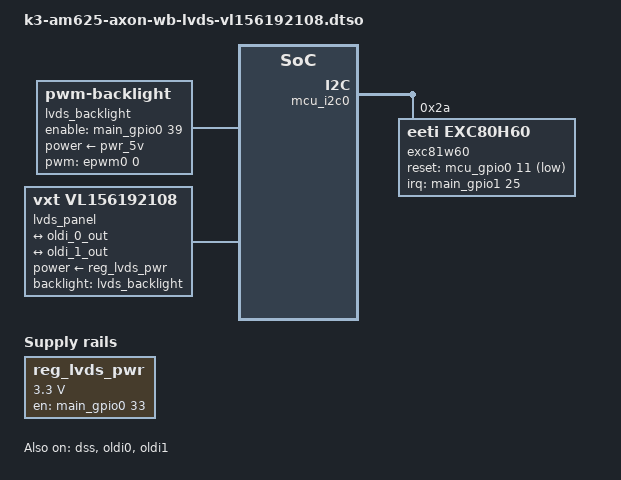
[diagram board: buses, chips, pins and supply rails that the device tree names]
// SPDX-License-Identifier: GPL-2.0-only OR MIT
/*
 * Copyright (C) 2024 TechNexion Ltd.
 *
 * Author: Ray Chang <ray.chang@technexion.com>
 *
 */

/dts-v1/;
/plugin/;

#include <dt-bindings/gpio/gpio.h>
#include <dt-bindings/interrupt-controller/irq.h>


&{/} {
	reg_lvds_pwr: regulator_lvdspwr {
		compatible = "regulator-fixed";
		pinctrl-names = "default";
		pinctrl-0 = <&lvds_pwr_pins_default>;
		regulator-name = "LVDS_VLED_EN";
		regulator-min-microvolt = <3300000>;
		regulator-max-microvolt = <3300000>;
		gpio = <&main_gpio0 33 GPIO_ACTIVE_HIGH>; /* LVDS0_VDDEN, GPIO_X4_P8 */
		enable-active-high;
	};

	lvds_backlight: lvds_backlight {
		compatible = "pwm-backlight";
		pinctrl-names = "default";
		pinctrl-0 = <&lvds_backlight_pwr_pins_default>;
		enable-gpios = <&main_gpio0 39 GPIO_ACTIVE_HIGH>; /* LVDS0_BL_EN, GPIO_X4_P7 */
		power-supply = <&pwr_5v>;
		pwms = <&epwm0 0 50000 0>;
		brightness-levels = <7 255>;
		num-interpolated-steps = <248>;
		default-brightness-level = <100>;
	};

	lvds_panel {
		compatible = "vxt,vl156192108", "panel-lvds";
		backlight = <&lvds_backlight>;
		power-supply = <&reg_lvds_pwr>;

		data-mapping = "vesa-24";
		height-mm = <193>;
		width-mm = <344>;

		panel-timing {
			clock-frequency = <141860000>;
			hactive = <1920>;
			vactive = <1080>;
			vback-porch = <10>;
			vfront-porch = <10>;
			hback-porch = <35>;
			hfront-porch = <34>;
			vsync-len = <10>;
			hsync-len = <35>;
			de-active = <1>;
		};

		/*
		* Note that the OLDI TX 0 transmits the odd set of pixels
		* while the OLDI TX 1 transmits the even set. This is a
		* fixed configuration in the IP integration and is not
		* changeable. The properties, "dual-lvds-odd-pixels" and
		* "dual-lvds-even-pixels" have been used to merely
		* identify if a Dual Link configuration is required.
		* Swapping them will cause an error in the dss oldi driver.
		*/
		ports {
			#address-cells = <1>;
			#size-cells = <0>;

			port@0 {
				reg = <0>;
				dual-lvds-odd-pixels;
				lcd_in0: endpoint {
					remote-endpoint = <&oldi_0_out>;
				};
			};
			port@1 {
				reg = <1>;
				dual-lvds-even-pixels;
				lcd_in1: endpoint {
					remote-endpoint = <&oldi_1_out>;
				};
			};
		};
	};
};

&dss {
	pinctrl-names = "default";
	pinctrl-0 = <&main_oldi0_pins_default>;
	status = "okay";
};

&oldi0 {
	status = "okay";
};

&oldi1 {
	status = "okay";
};

&oldi0_ports {
	#address-cells = <1>;
	#size-cells = <0>;

	port@0 {
		reg = <0>;
		oldi_0_in: endpoint {
			remote-endpoint = <&dpi0_out0>;
		};
	};

	port@1 {
		reg = <1>;
		oldi_0_out: endpoint {
			remote-endpoint = <&lcd_in0>;
		};
	};
};

&oldi1_ports {
	#address-cells = <1>;
	#size-cells = <0>;

	port@0 {
		reg = <0>;
		oldi_1_in: endpoint {
			remote-endpoint = <&dpi0_out1>;
		};
	};

	port@1 {
		reg = <1>;
		oldi_1_out: endpoint {
			remote-endpoint = <&lcd_in1>;
		};
	};
};

&dss_ports {
	#address-cells = <1>;
	#size-cells = <0>;

	/* VP1: Output to OLDI */
	port@0 {
		reg = <0>;
		#address-cells = <1>;
		#size-cells = <0>;

		dpi0_out0: endpoint@0 {
			reg = <0>;
			remote-endpoint = <&oldi_0_in>;
		};
		dpi0_out1: endpoint@1 {
			reg = <1>;
			remote-endpoint = <&oldi_1_in>;
		};
	};
};

/* I2C_C */
&mcu_i2c0 {
	#address-cells = <1>;
	#size-cells = <0>;

	exc81w60: touchscreen@2a {
		compatible = "eeti,exc80h60";
		reg = <0x2a>;
		pinctrl-names = "default";
		pinctrl-0 = <&touch_intr_pins_default &touch_nrst_pins_default>;
		reset-gpios = <&mcu_gpio0 11 GPIO_ACTIVE_LOW>; /* TOUCH_nRST, GPIO_X2_P20 */
		interrupt-parent = <&main_gpio1>; /* TOUCH_nINT, GPIO_X2_P24 */
		interrupts = <25 IRQ_TYPE_EDGE_FALLING>;
	};
};
